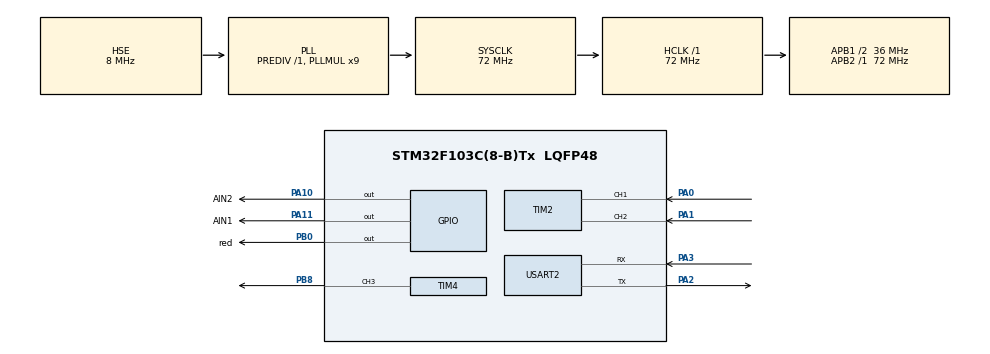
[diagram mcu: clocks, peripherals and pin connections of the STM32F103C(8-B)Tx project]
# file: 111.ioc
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Dma.Request0=USART2_TX
Dma.Request1=USART2_RX
Dma.USART2_RX.1.Direction=DMA_PERIPH_TO_MEMORY
Dma.USART2_RX.1.Instance=DMA1_Channel6
Dma.USART2_RX.1.MemDataAlignment=DMA_MDATAALIGN_BYTE
Dma.USART2_RX.1.MemInc=DMA_MINC_ENABLE
Dma.USART2_RX.1.Mode=DMA_NORMAL
Dma.USART2_RX.1.PeriphDataAlignment=DMA_PDATAALIGN_BYTE
Dma.USART2_RX.1.PeriphInc=DMA_PINC_DISABLE
Dma.USART2_RX.1.Priority=DMA_PRIORITY_LOW
Dma.USART2_TX.0.Direction=DMA_MEMORY_TO_PERIPH
Dma.USART2_TX.0.Instance=DMA1_Channel7
Dma.USART2_TX.0.MemDataAlignment=DMA_MDATAALIGN_BYTE
Dma.USART2_TX.0.MemInc=DMA_MINC_ENABLE
Dma.USART2_TX.0.Mode=DMA_NORMAL
Dma.USART2_TX.0.PeriphDataAlignment=DMA_PDATAALIGN_BYTE
Dma.USART2_TX.0.PeriphInc=DMA_PINC_DISABLE
Dma.USART2_TX.0.Priority=DMA_PRIORITY_LOW
FREERTOS.Tasks01=sin_generate_ta,24,256,Sin_generate_task,Default,NULL,Dynamic,NULL,NULL;motor_task,40,512,Motor_task,Default,NULL,Dynamic,NULL,NULL
FREERTOS.configTOTAL_HEAP_SIZE=10240
Mcu.Family=STM32F1
Mcu.Name=STM32F103C(8-B)Tx
Mcu.Package=LQFP48
NVIC.DMA1_Channel6_IRQn=true\:5\:0\:false\:false\:true\:true\:false\:true\:true
NVIC.DMA1_Channel7_IRQn=true\:5\:0\:false\:false\:true\:true\:false\:true\:true
NVIC.PriorityGroup=NVIC_PRIORITYGROUP_4
NVIC.TIM3_IRQn=true\:15\:0\:false\:false\:true\:false\:false\:true\:true
NVIC.TimeBase=TIM3_IRQn
NVIC.TimeBaseIP=TIM3
NVIC.USART2_IRQn=true\:5\:0\:false\:false\:true\:true\:true\:true\:true
PA0-WKUP.Signal=S_TIM2_CH1_ETR
PA1.Signal=S_TIM2_CH2
PA10.GPIO_Label=AIN2
PA10.Signal=GPIO_Output
PA11.GPIO_Label=AIN1
PA11.Signal=GPIO_Output
PA13.Mode=Serial_Wire
PA13.Signal=SYS_JTMS-SWDIO
PA14.Mode=Serial_Wire
PA14.Signal=SYS_JTCK-SWCLK
PA2.Mode=Asynchronous
PA2.Signal=USART2_TX
PA3.Mode=Asynchronous
PA3.Signal=USART2_RX
PB0.GPIO_Label=red
PB0.GPIO_PuPd=GPIO_PULLUP
PB0.Signal=GPIO_Output
PB8.Signal=S_TIM4_CH3
PD0-OSC_IN.Mode=HSE-External-Oscillator
PD0-OSC_IN.Signal=RCC_OSC_IN
PD1-OSC_OUT.Mode=HSE-External-Oscillator
PD1-OSC_OUT.Signal=RCC_OSC_OUT
ProjectManager.HeapSize=0x200
ProjectManager.StackSize=0x400
ProjectManager.TargetToolchain=CMake
RCC.AHBFreq_Value=72000000
RCC.APB1CLKDivider=RCC_HCLK_DIV2
RCC.APB1Freq_Value=36000000
RCC.APB1TimFreq_Value=72000000
RCC.APB2Freq_Value=72000000
RCC.APB2TimFreq_Value=72000000
RCC.HCLKFreq_Value=72000000
RCC.PLLMUL=RCC_PLL_MUL9
RCC.PLLSourceVirtual=RCC_PLLSOURCE_HSE
RCC.SYSCLKFreq_VALUE=72000000
RCC.SYSCLKSource=RCC_SYSCLKSOURCE_PLLCLK
RCC.USBFreq_Value=72000000
SH.S_TIM2_CH1_ETR.0=TIM2_CH1,Encoder_Interface
SH.S_TIM2_CH2.0=TIM2_CH2,Encoder_Interface
SH.S_TIM4_CH3.0=TIM4_CH3,PWM Generation3 CH3
TIM4.Channel-PWM\ Generation3\ CH3=TIM_CHANNEL_3
TIM4.Period=99
TIM4.Prescaler=71
USART2.VirtualMode=VM_ASYNC
VP_FREERTOS_VS_CMSIS_V2.Mode=CMSIS_V2
VP_SYS_VS_tim3.Mode=TIM3
board=custom

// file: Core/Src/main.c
/* USER CODE BEGIN Header */
/**
  ******************************************************************************
  * @file           : main.c
  * @brief          : Main program body
  ******************************************************************************
  * @attention
  *
  * Copyright (c) 2026 STMicroelectronics.
  * All rights reserved.
  *
  * This software is licensed under terms that can be found in the LICENSE file
  * in the root directory of this software component.
  * If no LICENSE file comes with this software, it is provided AS-IS.
  *
  ******************************************************************************
  */
/* USER CODE END Header */
#include "main.h"
#include "cmsis_os.h"
#include "dma.h"
#include "tim.h"
#include "usart.h"
#include "gpio.h"

void SystemClock_Config(void);
void MX_FREERTOS_Init(void);

int main(void)
{

  /* MCU Configuration--------------------------------------------------------*/

  /* Reset of all peripherals, Initializes the Flash interface and the Systick. */
  HAL_Init();

  /* Configure the system clock */
  SystemClock_Config();

  /* Initialize all configured peripherals */
  MX_GPIO_Init();
  MX_DMA_Init();
  MX_TIM2_Init();
  MX_TIM4_Init();
  MX_USART2_UART_Init();
  /* USER CODE BEGIN 2 */
  extern uint8_t rx_byte;
  HAL_UART_Receive_IT(&huart2, &rx_byte, 1);

  /* USER CODE END 2 */

  /* Init scheduler */
  osKernelInitialize();  /* Call init function for freertos objects (in cmsis_os2.c) */
  MX_FREERTOS_Init();

  /* Start scheduler */
  osKernelStart();

  /* We should never get here as control is now taken by the scheduler */

  /* Infinite loop */
  while (1)
  {

  }
}

void SystemClock_Config(void)
{
  RCC_OscInitTypeDef RCC_OscInitStruct = {0};
  RCC_ClkInitTypeDef RCC_ClkInitStruct = {0};

  /** Initializes the RCC Oscillators according to the specified parameters
  * in the RCC_OscInitTypeDef structure.
  */
  RCC_OscInitStruct.OscillatorType = RCC_OSCILLATORTYPE_HSE;
  RCC_OscInitStruct.HSEState = RCC_HSE_ON;
  RCC_OscInitStruct.HSEPredivValue = RCC_HSE_PREDIV_DIV1;
  RCC_OscInitStruct.HSIState = RCC_HSI_ON;
  RCC_OscInitStruct.PLL.PLLState = RCC_PLL_ON;
  RCC_OscInitStruct.PLL.PLLSource = RCC_PLLSOURCE_HSE;
  RCC_OscInitStruct.PLL.PLLMUL = RCC_PLL_MUL9;
  if (HAL_RCC_OscConfig(&RCC_OscInitStruct) != HAL_OK)
  {
    Error_Handler();
  }

  /** Initializes the CPU, AHB and APB buses clocks
  */
  RCC_ClkInitStruct.ClockType = RCC_CLOCKTYPE_HCLK|RCC_CLOCKTYPE_SYSCLK
                              |RCC_CLOCKTYPE_PCLK1|RCC_CLOCKTYPE_PCLK2;
  RCC_ClkInitStruct.SYSCLKSource = RCC_SYSCLKSOURCE_PLLCLK;
  RCC_ClkInitStruct.AHBCLKDivider = RCC_SYSCLK_DIV1;
  RCC_ClkInitStruct.APB1CLKDivider = RCC_HCLK_DIV2;
  RCC_ClkInitStruct.APB2CLKDivider = RCC_HCLK_DIV1;

  if (HAL_RCC_ClockConfig(&RCC_ClkInitStruct, FLASH_LATENCY_2) != HAL_OK)
  {
    Error_Handler();
  }
}

void HAL_TIM_PeriodElapsedCallback(TIM_HandleTypeDef *htim)
{
  if (htim->Instance == TIM3)
  {
    HAL_IncTick();
  }
}

void Error_Handler(void)
{
  /* USER CODE BEGIN Error_Handler_Debug */
  /* User can add his own implementation to report the HAL error return state */
  __disable_irq();
  while (1)
  {
    HAL_GPIO_TogglePin(GPIOB, GPIO_PIN_0);
    for(volatile int i=0; i<200000; i++);
  }
  /* USER CODE END Error_Handler_Debug */
}

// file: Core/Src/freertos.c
/* USER CODE BEGIN Header */
/**
  ******************************************************************************
  * File Name          : freertos.c
  * Description        : Code for freertos applications
  ******************************************************************************
  * @attention
  *
  * Copyright (c) 2026 STMicroelectronics.
  * All rights reserved.
  *
  * This software is licensed under terms that can be found in the LICENSE file
  * in the root directory of this software component.
  * If no LICENSE file comes with this software, it is provided AS-IS.
  *
  ******************************************************************************
  */
/* USER CODE END Header */

#include "FreeRTOS.h"
#include "task.h"
#include "main.h"
#include "cmsis_os.h"

/* USER CODE BEGIN Includes */
#include "uart.h"
#include "motor.h"
#include "pid.h"
#include <math.h>
/* USER CODE END Includes */

/* USER CODE BEGIN Variables */
volatile int16_t g_target_speed = 0;
extern float Kp, Ki, Kd;
/* USER CODE END Variables */
/* Definitions for sin_generate_ta */
osThreadId_t sin_generate_taHandle;
const osThreadAttr_t sin_generate_ta_attributes = {
  .name = "sin_generate_ta",
  .stack_size = 256 * 4,
  .priority = (osPriority_t) osPriorityNormal,
};
/* Definitions for motor_task */
osThreadId_t motor_taskHandle;
const osThreadAttr_t motor_task_attributes = {
  .name = "motor_task",
  .stack_size = 512 * 4,
  .priority = (osPriority_t) osPriorityHigh,
};

void Sin_generate_task(void *argument);
void Motor_task(void *argument);

void MX_FREERTOS_Init(void); /* (MISRA C 2004 rule 8.1) */

void MX_FREERTOS_Init(void) {

  /* Create the thread(s) */
  /* creation of sin_generate_ta */
  sin_generate_taHandle = osThreadNew(Sin_generate_task, NULL, &sin_generate_ta_attributes);

  /* creation of motor_task */
  motor_taskHandle = osThreadNew(Motor_task, NULL, &motor_task_attributes);

}

void Sin_generate_task(void *argument)
{
  /* USER CODE BEGIN Sin_generate_task */
  TickType_t xLastWakeTime = xTaskGetTickCount();

  const float A = 100.0f;
  const float f = 0.2f;
  const float omega = 2.0f * 3.14159265f * f;
  static float t = 0.0f;

  for(;;)
  {
    t += 0.01f;
    if (t >= 5.0f) {
        t -= 5.0f;
    }

    g_target_speed = (int16_t)(A * sinf(omega * t));

    vTaskDelayUntil(&xLastWakeTime, pdMS_TO_TICKS(10));
  }
  /* USER CODE END Sin_generate_task */
}

void Motor_task(void *argument)
{
  /* USER CODE BEGIN StartTask02 */
  motor_init();
  TickType_t xLastWakeTime = xTaskGetTickCount();
  /* Infinite loop */
  for(;;)
  {
    pid_task();

    vTaskDelayUntil(&xLastWakeTime, pdMS_TO_TICKS(5));
  }
  /* USER CODE END Motor_task */
}
